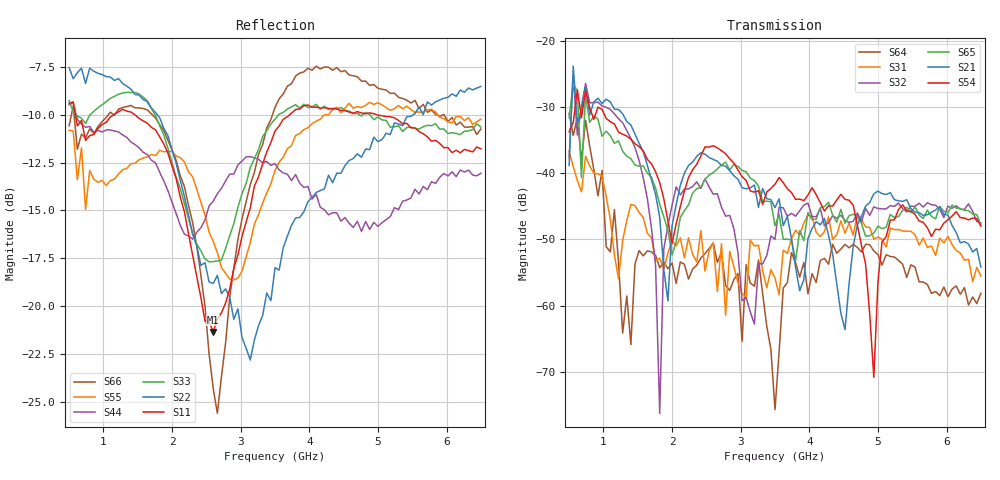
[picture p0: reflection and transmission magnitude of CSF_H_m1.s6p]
!Keysight Technologies,M9804A,MY58100912,A.14.10.03
!Date: Thursday, April 27, 2023 10:28:33
!Correction: S11(C  6-Port  )
!S12(C  6-Port  )
!S13(C  6-Port  )
!S14(C  6-Port  )
!S15(C  6-Port  )
!S16(C  6-Port  )
!S21(C  6-Port  )
!S22(C  6-Port  )
!S23(C  6-Port  )
!S24(C  6-Port  )
!S25(C  6-Port  )
!S26(C  6-Port  )
!S31(C  6-Port  )
!S32(C  6-Port  )
!S33(C  6-Port  )
!S34(C  6-Port  )
!S35(C  6-Port  )
!S36(C  6-Port  )
!S41(C  6-Port  )
!S42(C  6-Port  )
!S43(C  6-Port  )
!S44(C  6-Port  )
!S45(C  6-Port  )
!S46(C  6-Port  )
!S51(C  6-Port  )
!S52(C  6-Port  )
!S53(C  6-Port  )
!S54(C  6-Port  )
!S55(C  6-Port  )
!S56(C  6-Port  )
!S61(C  6-Port  )
!S62(C  6-Port  )
!S63(C  6-Port  )
!S64(C  6-Port  )
!S65(C  6-Port  )
!S66(C  6-Port  )
!S6P File: Measurement: :
# Hz S  RI  R 50
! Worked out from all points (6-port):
!   101 points, 500 MHz to 6.5 GHz, reference 50 ohm
!   strongest paths, dB at 500 MHz, 2 GHz, 3.5 GHz, 5 GHz, 6.5 GHz:
!     S54: -33.7, -50.6, -41.6, -56.4, -48.0
!     S21: -38.8, -48.0, -45.2, -42.7, -54.2
!     S65: -31.6, -52.3, -47.9, -48.0, -47.8
!     S32: -37.6, -44.8, -50.0, -45.3, -47.5
!     S31: -36.7, -50.1, -55.8, -49.6, -55.5
!     S64: -30.9, -53.6, -75.8, -52.3, -58.1
!   lowest |S11| = -21.4 dB at 2.6 GHz (marker M1), VSWR 1.19, Z = 42.4 + j2.29 ohm
!   |S11| at or under -10 dB: 592.7 MHz to 1.144 GHz (551.5 MHz wide, 63.5 % of centre); 1.462 GHz to 3.71 GHz (2.248 GHz wide, 86.9 % of centre); 4.991 GHz to end of sweep
